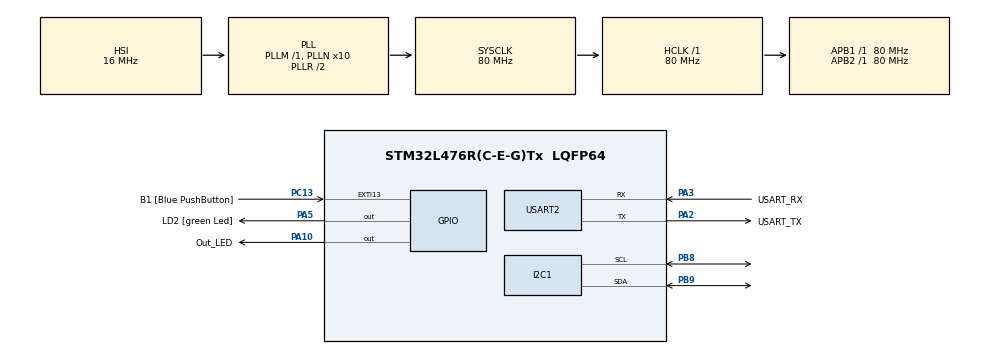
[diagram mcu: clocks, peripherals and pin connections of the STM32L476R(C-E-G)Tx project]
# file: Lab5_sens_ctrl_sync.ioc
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FREERTOS.Tasks01=ReadRGB,24,128,StartReadRGB,Default,NULL,Dynamic,NULL,NULL;ControlTask,8,128,StartControlTask,Default,NULL,Dynamic,NULL,NULL
I2C1.Timing=0x10D19CE4
Mcu.Family=STM32L4
Mcu.Name=STM32L476R(C-E-G)Tx
Mcu.Package=LQFP64
NVIC.PriorityGroup=NVIC_PRIORITYGROUP_4
NVIC.TIM6_DAC_IRQn=true\:15\:0\:false\:false\:true\:false\:false\:true\:true
NVIC.TimeBase=TIM6_DAC_IRQn
NVIC.TimeBaseIP=TIM6
PA10.GPIO_Label=Out_LED
PA10.Signal=GPIO_Output
PA13\ (JTMS-SWDIO).GPIO_Label=TMS
PA13\ (JTMS-SWDIO).Mode=Serial_Wire
PA13\ (JTMS-SWDIO).Signal=SYS_JTMS-SWDIO
PA14\ (JTCK-SWCLK).GPIO_Label=TCK
PA14\ (JTCK-SWCLK).Mode=Serial_Wire
PA14\ (JTCK-SWCLK).Signal=SYS_JTCK-SWCLK
PA2.GPIO_Label=USART_TX
PA2.GPIO_Mode=GPIO_MODE_AF_PP
PA2.GPIO_PuPd=GPIO_NOPULL
PA2.GPIO_Speed=GPIO_SPEED_FREQ_VERY_HIGH
PA2.Mode=Asynchronous
PA2.Signal=USART2_TX
PA3.GPIO_Label=USART_RX
PA3.GPIO_Mode=GPIO_MODE_AF_PP
PA3.GPIO_PuPd=GPIO_NOPULL
PA3.GPIO_Speed=GPIO_SPEED_FREQ_VERY_HIGH
PA3.Mode=Asynchronous
PA3.Signal=USART2_RX
PA5.GPIO_Label=LD2 [green Led]
PA5.GPIO_ModeDefaultOutputPP=GPIO_MODE_OUTPUT_PP
PA5.GPIO_PuPd=GPIO_NOPULL
PA5.GPIO_Speed=GPIO_SPEED_FREQ_LOW
PA5.Signal=GPIO_Output
PB3\ (JTDO-TRACESWO).GPIO_Label=SWO
PB3\ (JTDO-TRACESWO).Signal=SYS_JTDO-SWO
PB8.Mode=I2C
PB8.Signal=I2C1_SCL
PB9.Mode=I2C
PB9.Signal=I2C1_SDA
PC13.GPIO_Label=B1 [Blue PushButton]
PC13.GPIO_ModeDefaultEXTI=GPIO_MODE_IT_FALLING
PC13.GPIO_PuPd=GPIO_NOPULL
PC13.Signal=GPXTI13
PC14-OSC32_IN\ (PC14).Mode=LSE-External-Oscillator
PC14-OSC32_IN\ (PC14).Signal=RCC_OSC32_IN
PC15-OSC32_OUT\ (PC15).Mode=LSE-External-Oscillator
PC15-OSC32_OUT\ (PC15).Signal=RCC_OSC32_OUT
PH0-OSC_IN\ (PH0).Signal=RCC_OSC_IN
PH1-OSC_OUT\ (PH1).Signal=RCC_OSC_OUT
ProjectManager.HeapSize=0x200
ProjectManager.StackSize=0x400
ProjectManager.TargetToolchain=STM32CubeIDE
RCC.ADCFreq_Value=64000000
RCC.AHBFreq_Value=80000000
RCC.APB1Freq_Value=80000000
RCC.APB1TimFreq_Value=80000000
RCC.APB2Freq_Value=80000000
RCC.APB2TimFreq_Value=80000000
RCC.CortexFreq_Value=80000000
RCC.HCLKFreq_Value=80000000
RCC.HSE_VALUE=8000000
RCC.HSI_VALUE=16000000
RCC.MSI_VALUE=4000000
RCC.PLLN=10
RCC.PLLSourceVirtual=RCC_PLLSOURCE_HSI
RCC.PREFETCH_ENABLE=1
RCC.SYSCLKFreq_VALUE=80000000
RCC.SYSCLKSource=RCC_SYSCLKSOURCE_PLLCLK
RCC.USBFreq_Value=64000000
RCC.VCOOutputFreq_Value=160000000
USART2.VirtualMode-Asynchronous=VM_ASYNC
VP_FREERTOS_VS_CMSIS_V2.Mode=CMSIS_V2
VP_SYS_VS_tim6.Mode=TIM6
board=NUCLEO-L476RG

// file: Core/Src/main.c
/* USER CODE BEGIN Header */
/**
  ******************************************************************************
  * @file           : main.c
  * @brief          : Main program body
  ******************************************************************************
  * @attention
  *
  * Copyright (c) 2025 STMicroelectronics.
  * All rights reserved.
  *
  * This software is licensed under terms that can be found in the LICENSE file
  * in the root directory of this software component.
  * If no LICENSE file comes with this software, it is provided AS-IS.
  *
  ******************************************************************************
  */
/* USER CODE END Header */
#include "main.h"

/* USER CODE BEGIN Includes */
#include <string.h>
#include <stdio.h>
#include "FreeRTOS.h" // Native FreeRTOS header
#include "task.h"
#include "queue.h"    // Native FreeRTOS Queue header
/* USER CODE END Includes */

/* USER CODE BEGIN PTD */
// Structure to hold data sent through the queue (Part II)
typedef struct {
    int r;
    int g;
    int b;
    char color[16];
} SensorData_t;
/* USER CODE END PTD */

/* USER CODE BEGIN PD */
#define ISL29125_ADDR         (0x44 << 1)  // 7-bit address shifted for HAL

// Register map
#define ISL29125_REG_DEVICE_ID   0x00
#define ISL29125_REG_CONFIG1     0x01
#define ISL29125_REG_CONFIG2     0x02
#define ISL29125_REG_CONFIG3     0x03
#define ISL29125_REG_STATUS      0x08
#define ISL29125_REG_GREEN_L     0x09
#define ISL29125_REG_GREEN_H     0x0A
#define ISL29125_REG_RED_L       0x0B
#define ISL29125_REG_RED_H       0x0C
#define ISL29125_REG_BLUE_L      0x0D
#define ISL29125_REG_BLUE_H      0x0E

// Config bits
#define CONFIG1_MODE_RGB_16BIT   0x05   // RGB mode, 16-bit ADC, 375 lux
#define CONFIG1_MODE_RGB_12BIT   0x0D   // RGB mode, 12-bit ADC, 375 lux
#define CONFIG2_IR_MAX           0xBF   // Max IR compensation + IR offset
#define CONFIG3_DEFAULT          0x00   // Default settings

/* USER CODE END PD */

I2C_HandleTypeDef hi2c1;

UART_HandleTypeDef huart2;

/* USER CODE BEGIN PV */
char msg[64];
QueueHandle_t sensorQueue; // Handle for the FreeRTOS queue (Part II)

/* USER CODE END PV */

void SystemClock_Config(void);
static void MX_GPIO_Init(void);
static void MX_USART2_UART_Init(void);
static void MX_I2C1_Init(void);
void StartReadRGB(void *argument);
void StartControlTask(void *argument);

/* USER CODE BEGIN PFP */
HAL_StatusTypeDef ISL29125_WriteRegister(uint8_t reg, uint8_t value);
HAL_StatusTypeDef ISL29125_ReadRegister(uint8_t reg, uint8_t *value);
HAL_StatusTypeDef ISL29125_Init(void);
HAL_StatusTypeDef ISL29125_ReadRGB255(int *r_val, int *g_val, int *b_val);
void Actuator_SetLED(uint8_t state);
const char* DetectColor(int r, int g, int b);
void traceTaskSwitch(void) {}
/* USER CODE END PFP */

int main(void)
{

  /* MCU Configuration--------------------------------------------------------*/

  /* Reset of all peripherals, Initializes the Flash interface and the Systick. */
  HAL_Init();

  /* Configure the system clock */
  SystemClock_Config(); // <<< DEFINITION NOW INCLUDED BELOW

  /* Initialize all configured peripherals */
  MX_GPIO_Init(); // <<< DEFINITION NOW INCLUDED BELOW
  MX_USART2_UART_Init(); // <<< DEFINITION NOW INCLUDED BELOW
  MX_I2C1_Init(); // <<< DEFINITION NOW INCLUDED BELOW
  /* USER CODE BEGIN 2 */
  ISL29125_Init(); // <<< DEFINITION NOW INCLUDED BELOW

  /* USER CODE END 2 */

  /* Init scheduler */

  /* USER CODE BEGIN RTOS_QUEUES */
  /* add queues, ... */
  // Create a queue for sensor data (Part II)
  sensorQueue = xQueueCreate(
      1,                     // Max number of items the queue can hold (size 1 for latest data)
      sizeof(SensorData_t)   // Size of each item
  );
  /* USER CODE END RTOS_QUEUES */

  /* Create the thread(s) */

  /* USER CODE BEGIN RTOS_THREADS */
  /* add threads, ... */
  // Create SensorTask (Part II)
  xTaskCreate(StartReadRGB,
              "SensorTask",
              256,              // Stack size (words)
              NULL,             // Parameter
              2,                // Priority
              NULL);

  // Create ControlTask (Part II)
  xTaskCreate(StartControlTask,
              "ControlTask",
              256,              // Stack size (words)
              NULL,             // Parameter
              1,                // Priority (lower than sensor)
              NULL);
  /* USER CODE END RTOS_THREADS */

  /* Start scheduler */
  vTaskStartScheduler(); // REPLACED osKernelStart()

  /* We should never get here as control is now taken by the scheduler */

  /* Infinite loop */
  while (1)
  {

  }
}

void SystemClock_Config(void)
{
  RCC_OscInitTypeDef RCC_OscInitStruct = {0};
  RCC_ClkInitTypeDef RCC_ClkInitStruct = {0};

  /** Configure the main internal regulator output voltage
  */
  if (HAL_PWREx_ControlVoltageScaling(PWR_REGULATOR_VOLTAGE_SCALE1) != HAL_OK)
  {
    Error_Handler();
  }

  /** Initializes the RCC Oscillators according to the specified parameters
  * in the RCC_OscInitTypeDef structure.
  */
  RCC_OscInitStruct.OscillatorType = RCC_OSCILLATORTYPE_HSI;
  RCC_OscInitStruct.HSIState = RCC_HSI_ON;
  RCC_OscInitStruct.HSICalibrationValue = RCC_HSICALIBRATION_DEFAULT;
  RCC_OscInitStruct.PLL.PLLState = RCC_PLL_ON;
  RCC_OscInitStruct.PLL.PLLSource = RCC_PLLSOURCE_HSI;
  RCC_OscInitStruct.PLL.PLLM = 1;
  RCC_OscInitStruct.PLL.PLLN = 10;
  RCC_OscInitStruct.PLL.PLLP = RCC_PLLP_DIV7;
  RCC_OscInitStruct.PLL.PLLQ = RCC_PLLQ_DIV2;
  RCC_OscInitStruct.PLL.PLLR = RCC_PLLR_DIV2;
  if (HAL_RCC_OscConfig(&RCC_OscInitStruct) != HAL_OK)
  {
    Error_Handler();
  }

  /** Initializes the CPU, AHB and APB buses clocks
  */
  RCC_ClkInitStruct.ClockType = RCC_CLOCKTYPE_HCLK|RCC_CLOCKTYPE_SYSCLK
                              |RCC_CLOCKTYPE_PCLK1|RCC_CLOCKTYPE_PCLK2;
  RCC_ClkInitStruct.SYSCLKSource = RCC_SYSCLKSOURCE_PLLCLK;
  RCC_ClkInitStruct.AHBCLKDivider = RCC_SYSCLK_DIV1;
  RCC_ClkInitStruct.APB1CLKDivider = RCC_HCLK_DIV1;
  RCC_ClkInitStruct.APB2CLKDivider = RCC_HCLK_DIV1;

  if (HAL_RCC_ClockConfig(&RCC_ClkInitStruct, FLASH_LATENCY_4) != HAL_OK)
  {
    Error_Handler();
  }
}

static void MX_I2C1_Init(void)
{

  hi2c1.Instance = I2C1;
  hi2c1.Init.Timing = 0x10D19CE4;
  hi2c1.Init.OwnAddress1 = 0;
  hi2c1.Init.AddressingMode = I2C_ADDRESSINGMODE_7BIT;
  hi2c1.Init.DualAddressMode = I2C_DUALADDRESS_DISABLE;
  hi2c1.Init.OwnAddress2 = 0;
  hi2c1.Init.OwnAddress2Masks = I2C_OA2_NOMASK;
  hi2c1.Init.GeneralCallMode = I2C_GENERALCALL_DISABLE;
  hi2c1.Init.NoStretchMode = I2C_NOSTRETCH_DISABLE;
  if (HAL_I2C_Init(&hi2c1) != HAL_OK)
  {
    Error_Handler();
  }

  /** Configure Analogue filter
  */
  if (HAL_I2CEx_ConfigAnalogFilter(&hi2c1, I2C_ANALOGFILTER_ENABLE) != HAL_OK)
  {
    Error_Handler();
  }

  /** Configure Digital filter
  */
  if (HAL_I2CEx_ConfigDigitalFilter(&hi2c1, 0) != HAL_OK)
  {
    Error_Handler();
  }

}

static void MX_USART2_UART_Init(void)
{

  huart2.Instance = USART2;
  huart2.Init.BaudRate = 115200;
  huart2.Init.WordLength = UART_WORDLENGTH_8B;
  huart2.Init.StopBits = UART_STOPBITS_1;
  huart2.Init.Parity = UART_PARITY_NONE;
  huart2.Init.Mode = UART_MODE_TX_RX;
  huart2.Init.HwFlowCtl = UART_HWCONTROL_NONE;
  huart2.Init.OverSampling = UART_OVERSAMPLING_16;
  huart2.Init.OneBitSampling = UART_ONE_BIT_SAMPLE_DISABLE;
  huart2.AdvancedInit.AdvFeatureInit = UART_ADVFEATURE_NO_INIT;
  if (HAL_UART_Init(&huart2) != HAL_OK)
  {
    Error_Handler();
  }

}

static void MX_GPIO_Init(void)
{
  GPIO_InitTypeDef GPIO_InitStruct = {0};

  /* GPIO Ports Clock Enable */
  __HAL_RCC_GPIOC_CLK_ENABLE();
  __HAL_RCC_GPIOH_CLK_ENABLE();
  __HAL_RCC_GPIOA_CLK_ENABLE();
  __HAL_RCC_GPIOB_CLK_ENABLE();

  /*Configure GPIO pin Output Level */
  HAL_GPIO_WritePin(GPIOA, LD2_Pin|Out_LED_Pin, GPIO_PIN_RESET);

  /*Configure GPIO pin : B1_Pin */
  GPIO_InitStruct.Pin = B1_Pin;
  GPIO_InitStruct.Mode = GPIO_MODE_IT_FALLING;
  GPIO_InitStruct.Pull = GPIO_NOPULL;
  HAL_GPIO_Init(B1_GPIO_Port, &GPIO_InitStruct);

  /*Configure GPIO pins : LD2_Pin Out_LED_Pin */
  GPIO_InitStruct.Pin = LD2_Pin|Out_LED_Pin;
  GPIO_InitStruct.Mode = GPIO_MODE_OUTPUT_PP;
  GPIO_InitStruct.Pull = GPIO_NOPULL;
  GPIO_InitStruct.Speed = GPIO_SPEED_FREQ_LOW;
  HAL_GPIO_Init(GPIOA, &GPIO_InitStruct);

}

/* USER CODE BEGIN 4 */
// FIX: Missing definitions for helper functions are included here:
HAL_StatusTypeDef ISL29125_WriteRegister(uint8_t reg, uint8_t value) {
    uint8_t buf[2] = {reg, value};
    return HAL_I2C_Master_Transmit(&hi2c1, ISL29125_ADDR, buf, 2, HAL_MAX_DELAY);
}

HAL_StatusTypeDef ISL29125_ReadRegister(uint8_t reg, uint8_t *value) {
    HAL_StatusTypeDef ret;
    ret = HAL_I2C_Master_Transmit(&hi2c1, ISL29125_ADDR, &reg, 1, HAL_MAX_DELAY);
    if (ret != HAL_OK) return ret;
    return HAL_I2C_Master_Receive(&hi2c1, ISL29125_ADDR, value, 1, HAL_MAX_DELAY);
}

HAL_StatusTypeDef ISL29125_Init(void)
{
    HAL_StatusTypeDef ret;
//    uint8_t device_id;

    //  Configure sensor for RGB mode, 16-bit ADC, 375 lux
    ret = ISL29125_WriteRegister(ISL29125_REG_CONFIG1, CONFIG1_MODE_RGB_16BIT);
    if (ret != HAL_OK) return ret;

    // Sensor initialized successfully
    return HAL_OK;
}

HAL_StatusTypeDef ISL29125_ReadRGB255(int *r_val, int *g_val, int *b_val) {
    uint8_t lo, hi;
    uint16_t r_raw, g_raw, b_raw;

    // Read Green
    ISL29125_ReadRegister(ISL29125_REG_GREEN_L, &lo);
    ISL29125_ReadRegister(ISL29125_REG_GREEN_H, &hi);
    g_raw = (hi << 8) | lo;

    // Read Red
    ISL29125_ReadRegister(ISL29125_REG_RED_L, &lo);
    ISL29125_ReadRegister(ISL29125_REG_RED_H, &hi);
    r_raw = (hi << 8) | lo;

    // Read Blue
    ISL29125_ReadRegister(ISL29125_REG_BLUE_L, &lo);
    ISL29125_ReadRegister(ISL29125_REG_BLUE_H, &hi);
    b_raw = (hi << 8) | lo;

    // Convert to percentage of sensor range (0–65535)
    *r_val = (r_raw * 255) / 65535;
    *g_val = (g_raw * 255) / 65535;
    *b_val = (b_raw * 255) / 65535;

    return HAL_OK;
}
void Actuator_SetLED(uint8_t state) {
    // FIX: LD2_Pin was not in the original code, but is often used for debugging.
    // Assuming the main LED is Out_LED_Pin.
    HAL_GPIO_WritePin(GPIOA, Out_LED_Pin,
                      state ? GPIO_PIN_SET : GPIO_PIN_RESET);
}
const char* DetectColor(int r, int g, int b) {
    // --- YELLOW detection ---
    if (r > 250 && g > 250 && b > 240) return "YELLOW";

    // --- GREEN detection (combines Light and Dark Green) ---
    if ((g > 250 && r > 200 && b > 230) || (g > 250 && g - r > 100 && g - b > 60)) {
        return "GREEN";
    }

    // --- RED detection ---
    if (r > 170 && g > 170 && g - b > 70) return "RED";

    // --- BLUE detection (combines Light and Dark Blue) ---
    if ((b > 250 && g > 250 && r < 100) || (b > 190 && g > 190 && r < 70)) {
        return "BLUE";
    }

    // --- BLACK detection ---
    if (r < 50 && g > 110 && b > 80) return "BLACK";

    // Fallback if no specific color is detected
    return "UNKNOWN";
}
/* USER CODE END 4 */

/* USER CODE BEGIN Header_StartReadRGB */
/**
* @brief Function implementing the ReadRGB thread (SensorTask).
* @param argument: Not used
* @retval None
*/
/* USER CODE END Header_StartReadRGB */
void StartReadRGB(void *argument)
{
  /* USER CODE BEGIN 5 */
    // Use local variable instead of global (Part II)
    SensorData_t sensor_data;
    BaseType_t xStatus;

	for(;;)
	{
        // 1. Read sensor data into local variable/struct
        if (ISL29125_ReadRGB255(&sensor_data.r, &sensor_data.g, &sensor_data.b) == HAL_OK) {

            const char* color = DetectColor(sensor_data.r, sensor_data.g, sensor_data.b);
            strncpy(sensor_data.color, color, sizeof(sensor_data.color)-1);
            sensor_data.color[sizeof(sensor_data.color)-1] = '\0';

            // Print RGB + Detected color (optional debug output)
            int len = snprintf(msg, sizeof(msg),
                               "R=%d G=%d B=%d | Detected: %s\r\n",
                               sensor_data.r, sensor_data.g, sensor_data.b, color);

            HAL_UART_Transmit(&huart2, (uint8_t*)msg, len, HAL_MAX_DELAY);

            // 2. Send data to the queue (Part II)
            xStatus = xQueueSend(sensorQueue,
                                 &sensor_data,
                                 0); // Don't block (0 ticks)

            if (xStatus != pdPASS)
            {
                // Handle queue send failure (e.g., queue full)
            }
        }

        // 3. Delay (Part II)
        vTaskDelay(pdMS_TO_TICKS(500));
    }

  /* USER CODE END 5 */
}

void StartControlTask(void *argument)
{
  /* USER CODE BEGIN StartControlTask */
    // Use local variable instead of global (Part II)
    SensorData_t received_data;
    BaseType_t xStatus;

  /* Infinite loop */
  for(;;)
  {
      // 1. Receive data from the queue (Part II)
      xStatus = xQueueReceive(sensorQueue,
                              &received_data,
                              pdMS_TO_TICKS(100)); // Wait for 100ms for data

      if (xStatus == pdPASS) // Check if reception was successful
      {
          // 2. Generate control signal based on sensor value(s)
          uint8_t state = 0;

          // Decide based on color string in the local received_data struct
          if (strcmp(received_data.color, "GREEN") == 0 ||
              strcmp(received_data.color, "BLUE") == 0)
          {
              state = 1; // turn LED ON
          }
          else
          {
              state = 0; // LED OFF otherwise
          }
          Actuator_SetLED(state);

          // 3. Print the received sensor value (for debug)
          printf("Control: Received %s (R:%d, G:%d, B:%d). Trigger: %d\r\n",
                 received_data.color, received_data.r, received_data.g, received_data.b, state);
      }

      // 4. Delay (optional, depending on desired loop speed)
      vTaskDelay(pdMS_TO_TICKS(100));
  }
  /* USER CODE END StartControlTask */
}

void HAL_TIM_PeriodElapsedCallback(TIM_HandleTypeDef *htim)
{
  if (htim->Instance == TIM6)
  {
    HAL_IncTick();
  }
}

void Error_Handler(void)
{
  __disable_irq();
  while (1)
  {
  }
}
